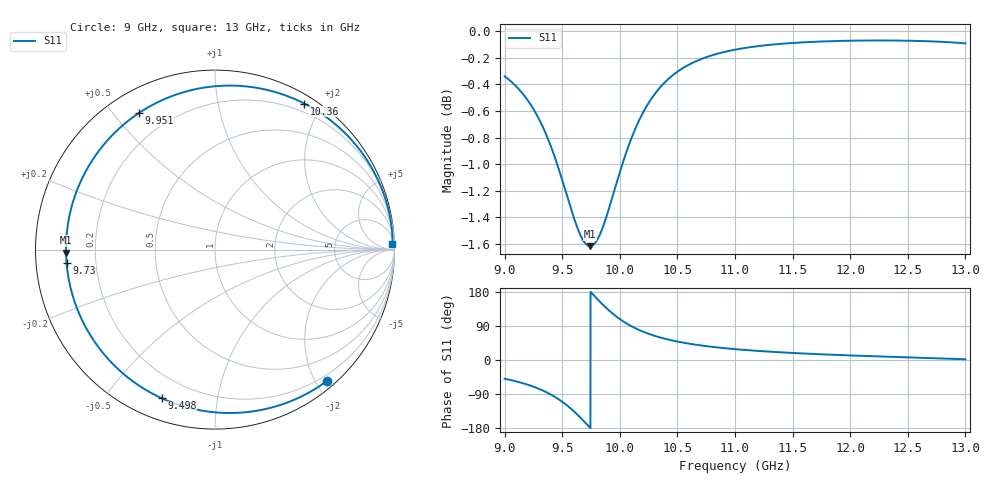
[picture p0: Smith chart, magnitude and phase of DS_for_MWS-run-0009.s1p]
! TOUCHSTONE file generated by CST DESIGN STUDIO
! Date and time: Tue Feb  4 17:04:28 2025
! Project name: C:\Work\MatlabApps\UnitCellOptimizationMatlab\CST\unitcell.cst
! Tree item: Tasks\Sweep1\SPara1\S-Parameters
! Header version: 2024
! Port assignment regex: !\s*Touchstone port\s*([0-9]+)\s*=\s*(CST MWS port|CST DES external port|CST DES block port)\s*(.+)\s* \(\"(.*)\"\)(\s*mode\s*([0-9]+))?.*
! Touchstone port assignment:
! Touchstone port 1 = CST DES external port 1 ("")
# GHz S MA R 50
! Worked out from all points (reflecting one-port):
!   4001 points, 9 GHz to 13 GHz, reference 50 ohm
!   lowest |S11| = -1.6 dB at 9.742 GHz (marker M1), VSWR 10.78, Z = 4.64 - j0.491 ohm
!   phase of S11 starts at -49 deg and turns -309 deg over the sweep
!   S11 on the Smith chart (normalised r, x): 9 GHz: 0.11, -2.17; 9.498 GHz: 0.10, -0.70; 9.73 GHz: 0.09, -0.04; 9.951 GHz: 0.09, +0.58; 10.36 GHz: 0.10, +1.78; 13 GHz: 17, +54
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9  0.9616 -49.4
9.137  0.9495 -59.4
9.265  0.9324 -72.0
9.397  0.9063 -90.4
9.45  0.893 -99.8
9.498  0.8798 -109.7
9.5  0.8792 -110.1
9.555  0.8635 -123.1
9.609  0.849 -137.6
9.673  0.8358 -156.7
9.73  0.8304 -175.0
9.742  0.8303 -178.9
9.786  0.8326 166.8
9.833  0.8398 152.0
9.893  0.8541 134.4
9.951  0.8707 119.3
10  0.885 108.1
10.08  0.9065 92.6
10.176  0.9273 78.0
10.265  0.9419 67.5
10.361  0.9537 58.6
10.5  0.9655 48.7
10.718  0.9765 37.9
11  0.984 28.7
11.5  0.9897 18.6
12  0.9917 12.0
12.5  0.9917 6.9
13  0.9894 1.9
